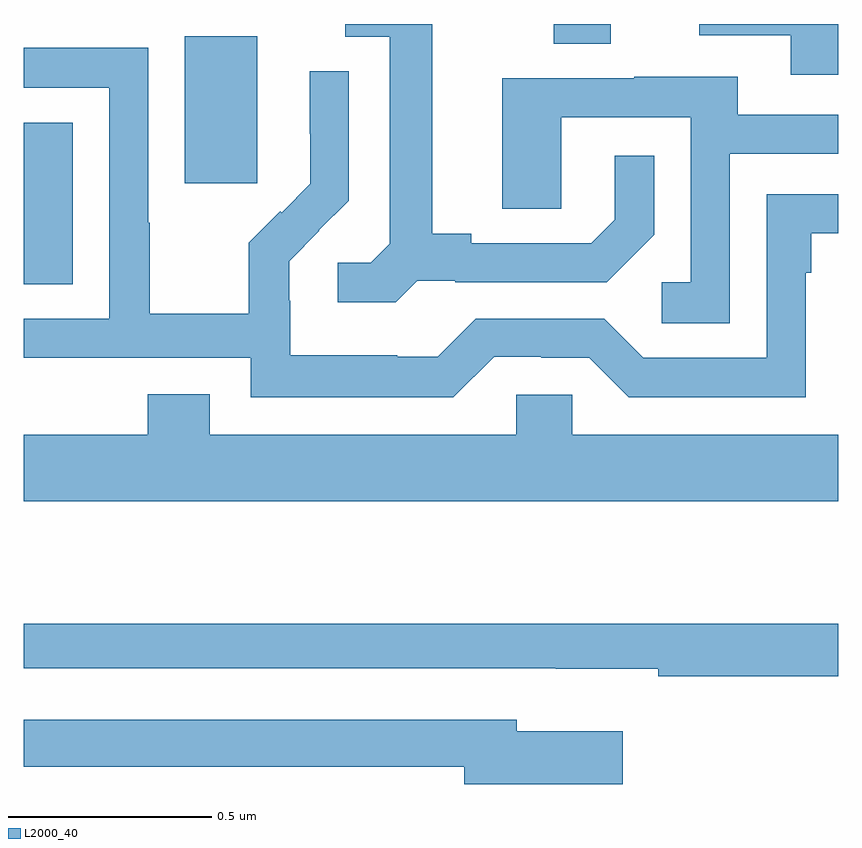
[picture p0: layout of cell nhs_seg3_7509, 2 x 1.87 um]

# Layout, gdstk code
import gdstk
lib = gdstk.Library(unit=1e-6, precision=1e-09)
def R(c, l, rs):  # rectangles x0, y0, x1, y1
    for r in rs: c.add(gdstk.rectangle(r[:2], r[2:], *l))
def P(c, l, *ps):  # polygons
    for p in ps: c.add(gdstk.Polygon(p, *l))
L2000_40 = (2000, 40)

nhs_seg3_7509 = lib.new_cell('nhs_seg3_7509')
R(nhs_seg3_7509, L2000_40, [(204,722.761,204.121,723.158), (204.395,723.009,204.574,723.37), (205.301,723.352,205.441,723.4)])
P(nhs_seg3_7509, L2000_40, [(206,723.4),(205.659,723.4),(205.659,723.372),(205.883,723.372),(205.883,723.276),(206,723.276)],
  [(204.966,722.769),(205.06,722.769),(205.06,722.766),(205.432,722.766),(205.548,722.882),(205.548,723.076),(205.451,723.076),(205.451,722.919),(205.394,722.862),(205.099,722.862),(205.099,722.885),(205.003,722.885),(205.003,723.4),(204.789,723.4),(204.789,723.369),(204.899,723.369),(204.899,722.861),(204.852,722.814),(204.771,722.814),(204.771,722.717),(204.914,722.717)],
  [(205.155,722.583),(205.271,722.583),(205.271,722.58),(205.389,722.58),(205.485,722.484),(205.92,722.484),(205.92,722.789),(205.933,722.789),(205.933,722.886),(206,722.886),(206,722.982),(205.824,722.982),(205.824,722.58),(205.521,722.58),(205.425,722.676),(205.11,722.676),(205.017,722.583),(204.917,722.583),(204.917,722.587),(204.654,722.587),(204.654,722.721),(204.652,722.721),(204.652,722.818),(204.726,722.892),(204.725,722.893),(204.798,722.966),(204.798,723.284),(204.702,723.284),(204.702,723.13),(204.704,723.13),(204.704,723.008),(204.633,722.937),(204.63,722.94),(204.553,722.863),(204.553,722.689),(204.309,722.689),(204.309,722.912),(204.306,722.912),(204.306,723.342),(204,723.342),(204,723.243),(204.21,723.243),(204.21,722.676),(204,722.676),(204,722.58),(204.558,722.58),(204.558,722.483),(205.055,722.483)],
  [(205.734,723.081),(206,723.081),(206,723.177),(205.753,723.177),(205.753,723.271),(205.499,723.271),(205.499,723.267),(205.175,723.267),(205.175,722.947),(205.32,722.947),(205.32,723.171),(205.638,723.171),(205.638,722.766),(205.566,722.766),(205.566,722.665),(205.734,722.665)],
  [(206,722.392),(205.347,722.392),(205.347,722.49),(205.209,722.49),(205.209,722.392),(204.457,722.392),(204.457,722.491),(204.305,722.491),(204.305,722.392),(204,722.392),(204,722.228),(206,722.228)],
  [(206,721.927),(204,721.927),(204,721.818),(205.306,721.818),(205.306,721.817),(205.558,721.817),(205.558,721.798),(206,721.798)],
  [(205.471,721.663),(205.21,721.663),(205.21,721.692),(204,721.692),(204,721.576),(205.082,721.576),(205.082,721.534),(205.471,721.534)])

lib.write_gds('nhs_seg3_7509.gds')
